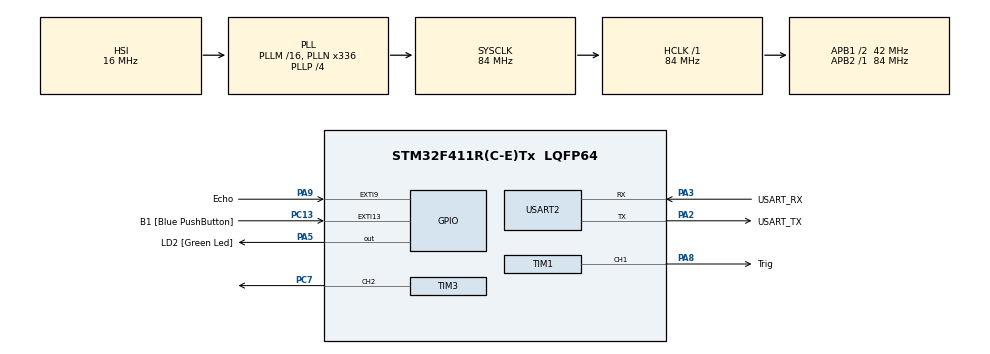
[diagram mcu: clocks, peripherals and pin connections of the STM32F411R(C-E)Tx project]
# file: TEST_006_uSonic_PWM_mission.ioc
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Mcu.Family=STM32F4
Mcu.Name=STM32F411R(C-E)Tx
Mcu.Package=LQFP64
NVIC.EXTI9_5_IRQn=true\:0\:0\:false\:false\:true\:true\:true\:true
NVIC.PriorityGroup=NVIC_PRIORITYGROUP_0
PA13.GPIO_Label=TMS
PA13.Mode=Serial_Wire
PA13.Signal=SYS_JTMS-SWDIO
PA14.GPIO_Label=TCK
PA14.Mode=Serial_Wire
PA14.Signal=SYS_JTCK-SWCLK
PA2.GPIO_Label=USART_TX
PA2.Mode=Asynchronous
PA2.Signal=USART2_TX
PA3.GPIO_Label=USART_RX
PA3.Mode=Asynchronous
PA3.Signal=USART2_RX
PA5.GPIO_Label=LD2 [Green Led]
PA5.Signal=GPIO_Output
PA8.GPIO_Label=Trig
PA8.Signal=S_TIM1_CH1
PA9.GPIO_Label=Echo
PA9.GPIO_ModeDefaultEXTI=GPIO_MODE_IT_RISING_FALLING
PA9.Signal=GPXTI9
PB3.GPIO_Label=SWO
PB3.Signal=SYS_JTDO-SWO
PC13-ANTI_TAMP.GPIO_Label=B1 [Blue PushButton]
PC13-ANTI_TAMP.GPIO_ModeDefaultEXTI=GPIO_MODE_IT_FALLING
PC13-ANTI_TAMP.Signal=GPXTI13
PC14-OSC32_IN.Mode=LSE-External-Oscillator
PC14-OSC32_IN.Signal=RCC_OSC32_IN
PC15-OSC32_OUT.Mode=LSE-External-Oscillator
PC15-OSC32_OUT.Signal=RCC_OSC32_OUT
PC7.Signal=S_TIM3_CH2
PH0\ -\ OSC_IN.Mode=HSE-External-Clock-Source
PH0\ -\ OSC_IN.Signal=RCC_OSC_IN
PH1\ -\ OSC_OUT.Mode=HSE-External-Clock-Source
PH1\ -\ OSC_OUT.Signal=RCC_OSC_OUT
ProjectManager.HeapSize=0x200
ProjectManager.StackSize=0x400
ProjectManager.TargetToolchain=STM32CubeIDE
RCC.48MHZClocksFreq_Value=84000000
RCC.AHBFreq_Value=84000000
RCC.APB1CLKDivider=RCC_HCLK_DIV2
RCC.APB1Freq_Value=42000000
RCC.APB1TimFreq_Value=84000000
RCC.APB2Freq_Value=84000000
RCC.APB2TimFreq_Value=84000000
RCC.CortexFreq_Value=84000000
RCC.FLatency-AdvancedSettings=FLASH_LATENCY_2
RCC.HCLKFreq_Value=84000000
RCC.HSE_VALUE=8000000
RCC.HSI_VALUE=16000000
RCC.PLLN=336
RCC.PLLP=RCC_PLLP_DIV4
RCC.SYSCLKFreq_VALUE=84000000
RCC.SYSCLKSource=RCC_SYSCLKSOURCE_PLLCLK
RCC.VCOOutputFreq_Value=336000000
SH.S_TIM1_CH1.0=TIM1_CH1,PWM Generation1 CH1
SH.S_TIM3_CH2.0=TIM3_CH2,PWM Generation2 CH2
TIM1.Channel-PWM\ Generation1\ CH1=TIM_CHANNEL_1
TIM1.Period=2000-1
TIM1.Prescaler=2100-1
TIM2.Period=100000-1
TIM2.Prescaler=84-1
TIM3.Channel-PWM\ Generation2\ CH2=TIM_CHANNEL_2
TIM3.Period=1000-1
TIM3.Prescaler=1680-1
USART2.VirtualMode=VM_ASYNC
VP_TIM1_VS_ClockSourceINT.Mode=Internal
VP_TIM2_VS_ClockSourceINT.Mode=Internal
VP_TIM3_VS_ClockSourceINT.Mode=Internal
board=NUCLEO-F411RE

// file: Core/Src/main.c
/* USER CODE BEGIN Header */
/**
  ******************************************************************************
  * @file           : main.c
  * @brief          : Main program body
  ******************************************************************************
  * @attention
  *
  * Copyright (c) 2025 STMicroelectronics.
  * All rights reserved.
  *
  * This software is licensed under terms that can be found in the LICENSE file
  * in the root directory of this software component.
  * If no LICENSE file comes with this software, it is provided AS-IS.
  *
  ******************************************************************************
  */
/* USER CODE END Header */
#include "main.h"

TIM_HandleTypeDef htim1;
TIM_HandleTypeDef htim2;
TIM_HandleTypeDef htim3;

UART_HandleTypeDef huart2;

void SystemClock_Config(void);
static void MX_GPIO_Init(void);
static void MX_USART2_UART_Init(void);
static void MX_TIM3_Init(void);
static void MX_TIM1_Init(void);
static void MX_TIM2_Init(void);

/* USER CODE BEGIN 0 */
int t1 =0 , t2 = 0;
double dist = 0.0;
void HAL_GPIO_EXTI_Callback(uint16_t GPIO_Pin)
{

	if(GPIO_Pin == Echo_Pin)
	{
		if(HAL_GPIO_ReadPin(Echo_GPIO_Port, Echo_Pin) == 1)	//rising edge
		{
			t1= htim3.Instance->CCR1;
		}
		else	//falling edge
		{
			//t2 = htim2.Instance->CNT;
			//dist = (t2 - t1) * 0.17;
			dist = (htim3.Instance->ARR - t1)* 0.17;
		}
	}
}

/* USER CODE END 0 */

int main(void)
{

  /* MCU Configuration--------------------------------------------------------*/

  /* Reset of all peripherals, Initializes the Flash interface and the Systick. */
  HAL_Init();

  /* Configure the system clock */
  SystemClock_Config();

  /* Initialize all configured peripherals */
  MX_GPIO_Init();
  MX_USART2_UART_Init();
  MX_TIM3_Init();
  MX_TIM1_Init();
  MX_TIM2_Init();
  /* USER CODE BEGIN 2 */
  ProgramStart("PWM_uSonic_START");
  HAL_TIM_PWM_Start(&htim3, TIM_CHANNEL_1);	//PWM out to LD2
  HAL_Base_Start(&htmi2);
  HAL_TIM_PWM_Start(&htmi3, TIM_CHANNEL_2);
  /* USER CODE END 2 */

  /* Infinite loop */
  /* USER CODE BEGIN WHILE */
  int min = 46, max = 250;
  while (1)
  {
//	  htim3.Instance->CCR1++;
//	  if(htim3.Instance->CCR1 > htim3.Instance->ARR)
//	  	  {
//	  		  htim3.Instance->CCR1 = 0;
//	  	  }
//	  	  HAL_Delay(100);

    /* USER CODE END WHILE */

    /* USER CODE BEGIN 3 */
	  	 Cursor(0, 5);
	  	 int iDist = (dist / 10);
	  	 printf("PWM_Distance : %d cm, idist);
	  	 if(iDist < 50)
	  	 {
	  		 printf("Door Open,    \r\n");
	  		 htim3.In ccr2 = max;
	  	 }
	  	 else
	  		 {
	  		 	 printf(" Door Closed \r\n");
	  		 	 htim3.i =min;
	  		 }
	  	 HAL_Delay(50);
  }
  /* USER CODE END 3 */
}

void SystemClock_Config(void)
{
  RCC_OscInitTypeDef RCC_OscInitStruct = {0};
  RCC_ClkInitTypeDef RCC_ClkInitStruct = {0};

  /** Configure the main internal regulator output voltage
  */
  __HAL_RCC_PWR_CLK_ENABLE();
  __HAL_PWR_VOLTAGESCALING_CONFIG(PWR_REGULATOR_VOLTAGE_SCALE1);

  /** Initializes the RCC Oscillators according to the specified parameters
  * in the RCC_OscInitTypeDef structure.
  */
  RCC_OscInitStruct.OscillatorType = RCC_OSCILLATORTYPE_HSI;
  RCC_OscInitStruct.HSIState = RCC_HSI_ON;
  RCC_OscInitStruct.HSICalibrationValue = RCC_HSICALIBRATION_DEFAULT;
  RCC_OscInitStruct.PLL.PLLState = RCC_PLL_ON;
  RCC_OscInitStruct.PLL.PLLSource = RCC_PLLSOURCE_HSI;
  RCC_OscInitStruct.PLL.PLLM = 16;
  RCC_OscInitStruct.PLL.PLLN = 336;
  RCC_OscInitStruct.PLL.PLLP = RCC_PLLP_DIV4;
  RCC_OscInitStruct.PLL.PLLQ = 4;
  if (HAL_RCC_OscConfig(&RCC_OscInitStruct) != HAL_OK)
  {
    Error_Handler();
  }

  /** Initializes the CPU, AHB and APB buses clocks
  */
  RCC_ClkInitStruct.ClockType = RCC_CLOCKTYPE_HCLK|RCC_CLOCKTYPE_SYSCLK
                              |RCC_CLOCKTYPE_PCLK1|RCC_CLOCKTYPE_PCLK2;
  RCC_ClkInitStruct.SYSCLKSource = RCC_SYSCLKSOURCE_PLLCLK;
  RCC_ClkInitStruct.AHBCLKDivider = RCC_SYSCLK_DIV1;
  RCC_ClkInitStruct.APB1CLKDivider = RCC_HCLK_DIV2;
  RCC_ClkInitStruct.APB2CLKDivider = RCC_HCLK_DIV1;

  if (HAL_RCC_ClockConfig(&RCC_ClkInitStruct, FLASH_LATENCY_2) != HAL_OK)
  {
    Error_Handler();
  }
}

static void MX_TIM1_Init(void)
{

  TIM_ClockConfigTypeDef sClockSourceConfig = {0};
  TIM_MasterConfigTypeDef sMasterConfig = {0};
  TIM_OC_InitTypeDef sConfigOC = {0};
  TIM_BreakDeadTimeConfigTypeDef sBreakDeadTimeConfig = {0};

  htim1.Instance = TIM1;
  htim1.Init.Prescaler = 2100-1;
  htim1.Init.CounterMode = TIM_COUNTERMODE_UP;
  htim1.Init.Period = 2000-1;
  htim1.Init.ClockDivision = TIM_CLOCKDIVISION_DIV1;
  htim1.Init.RepetitionCounter = 0;
  htim1.Init.AutoReloadPreload = TIM_AUTORELOAD_PRELOAD_DISABLE;
  if (HAL_TIM_Base_Init(&htim1) != HAL_OK)
  {
    Error_Handler();
  }
  sClockSourceConfig.ClockSource = TIM_CLOCKSOURCE_INTERNAL;
  if (HAL_TIM_ConfigClockSource(&htim1, &sClockSourceConfig) != HAL_OK)
  {
    Error_Handler();
  }
  if (HAL_TIM_PWM_Init(&htim1) != HAL_OK)
  {
    Error_Handler();
  }
  sMasterConfig.MasterOutputTrigger = TIM_TRGO_RESET;
  sMasterConfig.MasterSlaveMode = TIM_MASTERSLAVEMODE_DISABLE;
  if (HAL_TIMEx_MasterConfigSynchronization(&htim1, &sMasterConfig) != HAL_OK)
  {
    Error_Handler();
  }
  sConfigOC.OCMode = TIM_OCMODE_PWM1;
  sConfigOC.Pulse = 0;
  sConfigOC.OCPolarity = TIM_OCPOLARITY_HIGH;
  sConfigOC.OCNPolarity = TIM_OCNPOLARITY_HIGH;
  sConfigOC.OCFastMode = TIM_OCFAST_DISABLE;
  sConfigOC.OCIdleState = TIM_OCIDLESTATE_RESET;
  sConfigOC.OCNIdleState = TIM_OCNIDLESTATE_RESET;
  if (HAL_TIM_PWM_ConfigChannel(&htim1, &sConfigOC, TIM_CHANNEL_1) != HAL_OK)
  {
    Error_Handler();
  }
  sBreakDeadTimeConfig.OffStateRunMode = TIM_OSSR_DISABLE;
  sBreakDeadTimeConfig.OffStateIDLEMode = TIM_OSSI_DISABLE;
  sBreakDeadTimeConfig.LockLevel = TIM_LOCKLEVEL_OFF;
  sBreakDeadTimeConfig.DeadTime = 0;
  sBreakDeadTimeConfig.BreakState = TIM_BREAK_DISABLE;
  sBreakDeadTimeConfig.BreakPolarity = TIM_BREAKPOLARITY_HIGH;
  sBreakDeadTimeConfig.AutomaticOutput = TIM_AUTOMATICOUTPUT_DISABLE;
  if (HAL_TIMEx_ConfigBreakDeadTime(&htim1, &sBreakDeadTimeConfig) != HAL_OK)
  {
    Error_Handler();
  }
  HAL_TIM_MspPostInit(&htim1);

}

static void MX_TIM2_Init(void)
{

  TIM_ClockConfigTypeDef sClockSourceConfig = {0};
  TIM_MasterConfigTypeDef sMasterConfig = {0};

  htim2.Instance = TIM2;
  htim2.Init.Prescaler = 84-1;
  htim2.Init.CounterMode = TIM_COUNTERMODE_UP;
  htim2.Init.Period = 100000-1;
  htim2.Init.ClockDivision = TIM_CLOCKDIVISION_DIV1;
  htim2.Init.AutoReloadPreload = TIM_AUTORELOAD_PRELOAD_DISABLE;
  if (HAL_TIM_Base_Init(&htim2) != HAL_OK)
  {
    Error_Handler();
  }
  sClockSourceConfig.ClockSource = TIM_CLOCKSOURCE_INTERNAL;
  if (HAL_TIM_ConfigClockSource(&htim2, &sClockSourceConfig) != HAL_OK)
  {
    Error_Handler();
  }
  sMasterConfig.MasterOutputTrigger = TIM_TRGO_RESET;
  sMasterConfig.MasterSlaveMode = TIM_MASTERSLAVEMODE_DISABLE;
  if (HAL_TIMEx_MasterConfigSynchronization(&htim2, &sMasterConfig) != HAL_OK)
  {
    Error_Handler();
  }

}

static void MX_TIM3_Init(void)
{

  TIM_ClockConfigTypeDef sClockSourceConfig = {0};
  TIM_MasterConfigTypeDef sMasterConfig = {0};
  TIM_OC_InitTypeDef sConfigOC = {0};

  htim3.Instance = TIM3;
  htim3.Init.Prescaler = 1680-1;
  htim3.Init.CounterMode = TIM_COUNTERMODE_UP;
  htim3.Init.Period = 1000-1;
  htim3.Init.ClockDivision = TIM_CLOCKDIVISION_DIV1;
  htim3.Init.AutoReloadPreload = TIM_AUTORELOAD_PRELOAD_DISABLE;
  if (HAL_TIM_Base_Init(&htim3) != HAL_OK)
  {
    Error_Handler();
  }
  sClockSourceConfig.ClockSource = TIM_CLOCKSOURCE_INTERNAL;
  if (HAL_TIM_ConfigClockSource(&htim3, &sClockSourceConfig) != HAL_OK)
  {
    Error_Handler();
  }
  if (HAL_TIM_PWM_Init(&htim3) != HAL_OK)
  {
    Error_Handler();
  }
  sMasterConfig.MasterOutputTrigger = TIM_TRGO_RESET;
  sMasterConfig.MasterSlaveMode = TIM_MASTERSLAVEMODE_DISABLE;
  if (HAL_TIMEx_MasterConfigSynchronization(&htim3, &sMasterConfig) != HAL_OK)
  {
    Error_Handler();
  }
  sConfigOC.OCMode = TIM_OCMODE_PWM1;
  sConfigOC.Pulse = 0;
  sConfigOC.OCPolarity = TIM_OCPOLARITY_HIGH;
  sConfigOC.OCFastMode = TIM_OCFAST_DISABLE;
  if (HAL_TIM_PWM_ConfigChannel(&htim3, &sConfigOC, TIM_CHANNEL_2) != HAL_OK)
  {
    Error_Handler();
  }
  HAL_TIM_MspPostInit(&htim3);

}

static void MX_USART2_UART_Init(void)
{

  huart2.Instance = USART2;
  huart2.Init.BaudRate = 115200;
  huart2.Init.WordLength = UART_WORDLENGTH_8B;
  huart2.Init.StopBits = UART_STOPBITS_1;
  huart2.Init.Parity = UART_PARITY_NONE;
  huart2.Init.Mode = UART_MODE_TX_RX;
  huart2.Init.HwFlowCtl = UART_HWCONTROL_NONE;
  huart2.Init.OverSampling = UART_OVERSAMPLING_16;
  if (HAL_UART_Init(&huart2) != HAL_OK)
  {
    Error_Handler();
  }

}

static void MX_GPIO_Init(void)
{
  GPIO_InitTypeDef GPIO_InitStruct = {0};

  /* GPIO Ports Clock Enable */
  __HAL_RCC_GPIOC_CLK_ENABLE();
  __HAL_RCC_GPIOH_CLK_ENABLE();
  __HAL_RCC_GPIOA_CLK_ENABLE();
  __HAL_RCC_GPIOB_CLK_ENABLE();

  /*Configure GPIO pin Output Level */
  HAL_GPIO_WritePin(LD2_GPIO_Port, LD2_Pin, GPIO_PIN_RESET);

  /*Configure GPIO pin : B1_Pin */
  GPIO_InitStruct.Pin = B1_Pin;
  GPIO_InitStruct.Mode = GPIO_MODE_IT_FALLING;
  GPIO_InitStruct.Pull = GPIO_NOPULL;
  HAL_GPIO_Init(B1_GPIO_Port, &GPIO_InitStruct);

  /*Configure GPIO pin : LD2_Pin */
  GPIO_InitStruct.Pin = LD2_Pin;
  GPIO_InitStruct.Mode = GPIO_MODE_OUTPUT_PP;
  GPIO_InitStruct.Pull = GPIO_NOPULL;
  GPIO_InitStruct.Speed = GPIO_SPEED_FREQ_LOW;
  HAL_GPIO_Init(LD2_GPIO_Port, &GPIO_InitStruct);

  /*Configure GPIO pin : Echo_Pin */
  GPIO_InitStruct.Pin = Echo_Pin;
  GPIO_InitStruct.Mode = GPIO_MODE_IT_RISING_FALLING;
  GPIO_InitStruct.Pull = GPIO_NOPULL;
  HAL_GPIO_Init(Echo_GPIO_Port, &GPIO_InitStruct);

  /* EXTI interrupt init*/
  HAL_NVIC_SetPriority(EXTI9_5_IRQn, 0, 0);
  HAL_NVIC_EnableIRQ(EXTI9_5_IRQn);

}

void Error_Handler(void)
{
  __disable_irq();
  while (1)
  {
  }
}
